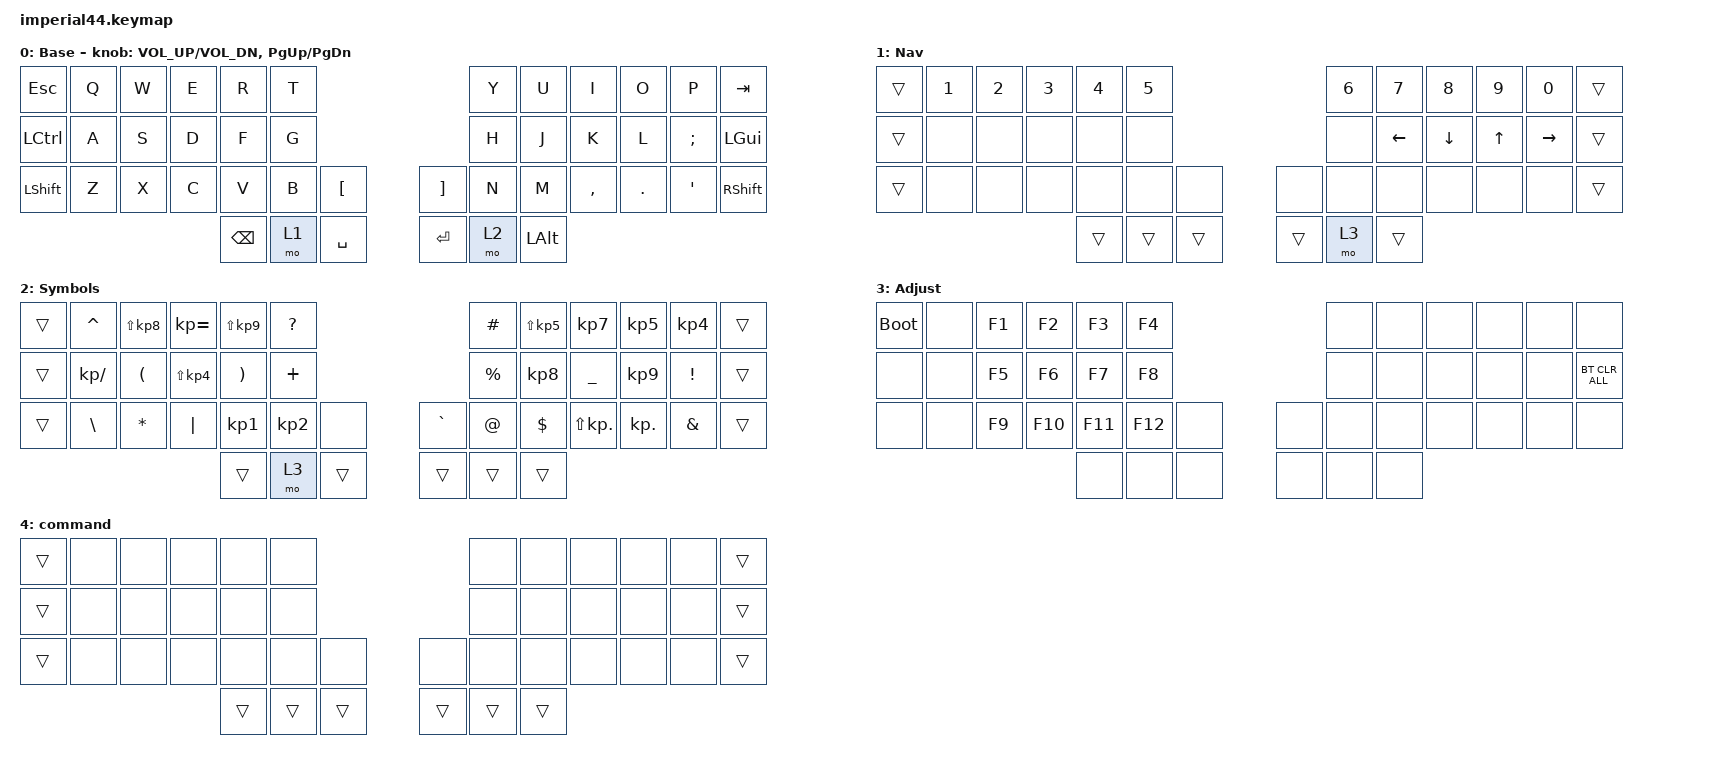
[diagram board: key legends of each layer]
#include "keys_ru.h"
#include <behaviors.dtsi>
#include <dt-bindings/zmk/bt.h>
#include <dt-bindings/zmk/keys.h>

/ {
    keymap {
        compatible = "zmk,keymap";

        base {
            bindings = <
&kp ESC    &kp Q  &kp W  &kp E  &kp R          &kp T                                         &kp Y  &kp U     &kp I      &kp O    &kp P             &kp TAB
&kp LCTRL  &kp A  &kp S  &kp D  &kp F          &kp G                                         &kp H  &kp J     &kp K      &kp L    &kp SEMICOLON     &kp LGUI
&kp LSHFT  &kp Z  &kp X  &kp C  &kp V          &kp B  &kp LEFT_BRACKET    &kp RIGHT_BRACKET  &kp N  &kp M     &kp COMMA  &kp DOT  &kp SINGLE_QUOTE  &kp RSHFT
                                &kp BACKSPACE  &mo 1  &kp SPACE           &kp ENTER          &mo 2  &kp LALT
            >;

            display-name = "Base";
            sensor-bindings =
                <&inc_dec_kp C_VOL_UP C_VOL_DN>,
                <&inc_dec_kp PG_UP PG_DN>;
        };

        nav {
            bindings = <
&trans  &kp N1  &kp N2  &kp N3  &kp N4  &kp N5                    &kp N6  &kp N7    &kp N8    &kp N9  &kp N0     &trans
&trans  &none   &none   &none   &none   &none                     &none   &kp LEFT  &kp DOWN  &kp UP  &kp RIGHT  &trans
&trans  &none   &none   &none   &none   &none   &none     &none   &none   &none     &none     &none   &none      &trans
                                &trans  &trans  &trans    &trans  &mo 3   &trans
            >;

            display-name = "Nav";
        };

        sym {
            bindings = <
&trans  &kp CARET      &kp LS(KP_NUMBER_8)  &kp KP_EQUAL         &kp LS(KP_NUMBER_9)  &kp QUESTION                          &kp HASH     &kp LS(KP_NUMBER_5)  &kp KP_NUMBER_7  &kp KP_NUMBER_5  &kp KP_NUMBER_4  &trans
&trans  &kp KP_DIVIDE  &kp LPAR             &kp LS(KP_NUMBER_4)  &kp RPAR             &kp PLUS                              &kp PRCNT    &kp KP_NUMBER_8      &kp UNDER        &kp KP_NUMBER_9  &kp EXCL         &trans
&trans  &kp BSLH       &kp STAR             &kp PIPE             &kp KP_NUMBER_1      &kp KP_NUMBER_2  &none     &kp GRAVE  &kp AT_SIGN  &kp DOLLAR           &kp LS(KP_DOT)   &kp KP_DOT       &kp AMPERSAND    &trans
                                                                 &trans               &mo 3            &trans    &trans     &trans       &trans
            >;

            display-name = "Symbols";
        };

        adj {
            bindings = <
&bootloader  &none  &kp F1  &kp F2   &kp F3   &kp F4                   &none  &none  &none  &none  &none  &none
&none        &none  &kp F5  &kp F6   &kp F7   &kp F8                   &none  &none  &none  &none  &none  &bt BT_CLR_ALL
&none        &none  &kp F9  &kp F10  &kp F11  &kp F12  &none    &none  &none  &none  &none  &none  &none  &none
                                     &none    &none    &none    &none  &none  &none
            >;

            display-name = "Adjust";
        };

        command {
            bindings = <
&trans  &none  &none  &none  &none   &none                     &none   &none   &none  &none  &none  &trans
&trans  &none  &none  &none  &none   &none                     &none   &none   &none  &none  &none  &trans
&trans  &none  &none  &none  &none   &none   &none     &none   &none   &none   &none  &none  &none  &trans
                             &trans  &trans  &trans    &trans  &trans  &trans
            >;
        };
    };
};
